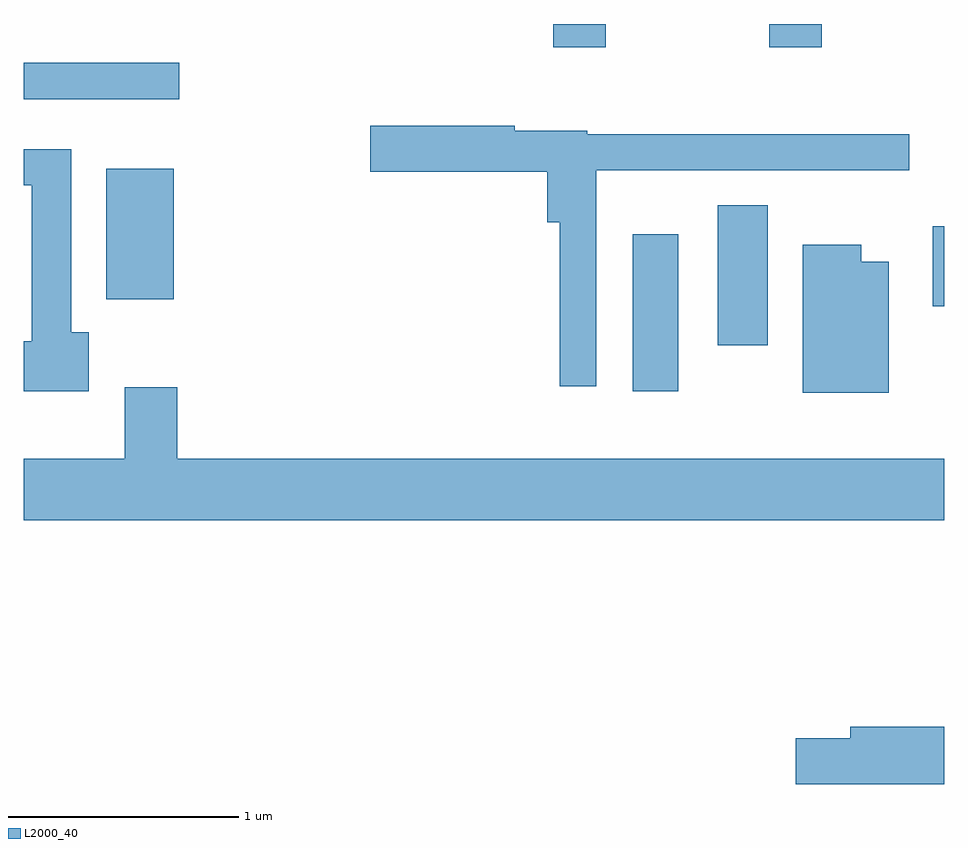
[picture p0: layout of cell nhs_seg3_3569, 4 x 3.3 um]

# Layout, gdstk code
import gdstk
lib = gdstk.Library(unit=1e-6, precision=1e-09)
def R(c, l, rs):  # rectangles x0, y0, x1, y1
    for r in rs: c.add(gdstk.rectangle(r[:2], r[2:], *l))
def P(c, l, *ps):  # polygons
    for p in ps: c.add(gdstk.Polygon(p, *l))
L2000_40 = (2000, 40)

nhs_seg3_3569 = lib.new_cell('nhs_seg3_3569')
R(nhs_seg3_3569, L2000_40, [(292.256,1184.296,292.454,1184.979), (292.626,1184.496,292.844,1185.104), (293.561,1184.666,293.611,1185.014), (289.971,1184.696,290.264,1185.264), (289.611,1185.566,290.288,1185.724), (291.911,1185.791,292.139,1185.892), (292.851,1185.791,293.079,1185.892)])
P(nhs_seg3_3569, L2000_40, [(292.099,1185.256),(293.458,1185.256),(293.458,1185.414),(292.06,1185.414),(292.06,1185.429),(291.744,1185.429),(291.744,1185.449),(291.116,1185.449),(291.116,1185.251),(291.886,1185.251),(291.886,1185.031),(291.941,1185.031),(291.941,1184.318),(292.099,1184.318)],
  [(289.894,1184.554),(289.819,1184.554),(289.819,1185.349),(289.611,1185.349),(289.611,1185.191),(289.646,1185.191),(289.646,1184.514),(289.611,1184.514),(289.611,1184.296),(289.894,1184.296)],
  [(293.369,1184.859),(293.249,1184.859),(293.249,1184.934),(292.996,1184.934),(292.996,1184.291),(293.369,1184.291)],
  [(293.611,1184.004),(290.279,1184.004),(290.279,1184.314),(290.051,1184.314),(290.051,1184.004),(289.611,1184.004),(289.611,1183.736),(293.611,1183.736)],
  [(293.611,1182.839),(293.201,1182.839),(293.201,1182.789),(292.966,1182.789),(292.966,1182.591),(293.611,1182.591)])

lib.write_gds('nhs_seg3_3569.gds')
